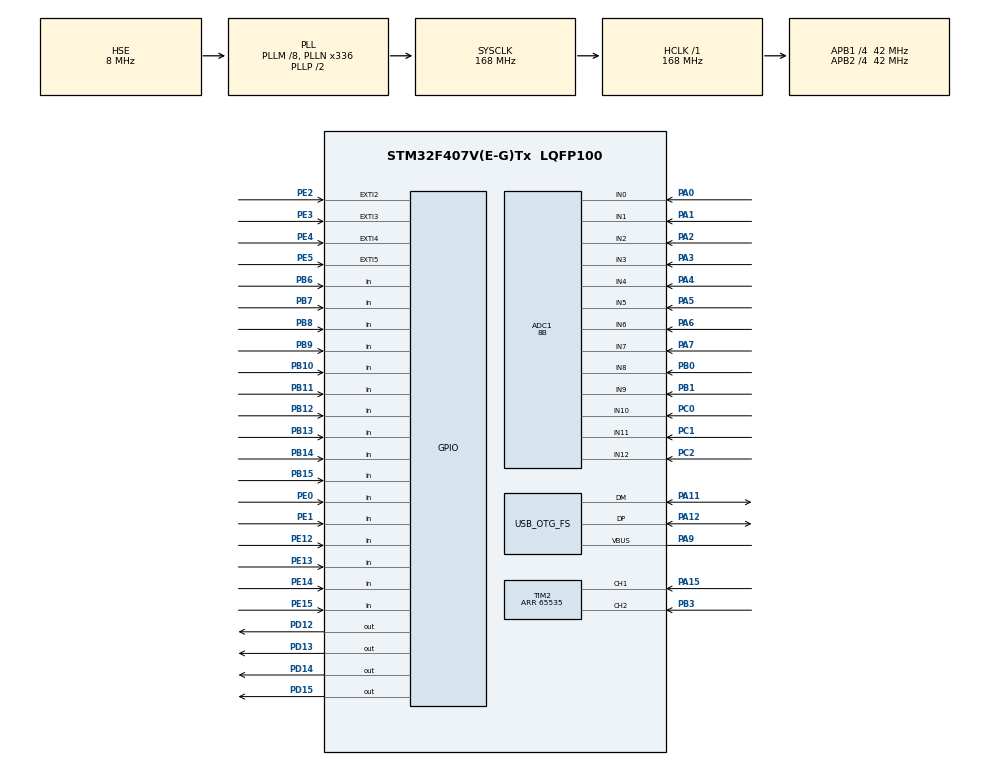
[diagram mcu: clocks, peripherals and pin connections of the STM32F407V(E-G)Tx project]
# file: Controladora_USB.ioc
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ADC1.Channel-0\#ChannelRegularConversion=ADC_CHANNEL_1
ADC1.Channel-1\#ChannelRegularConversion=ADC_CHANNEL_2
ADC1.Channel-10\#ChannelRegularConversion=ADC_CHANNEL_11
ADC1.Channel-11\#ChannelRegularConversion=ADC_CHANNEL_12
ADC1.Channel-12\#ChannelRegularConversion=ADC_CHANNEL_0
ADC1.Channel-2\#ChannelRegularConversion=ADC_CHANNEL_3
ADC1.Channel-3\#ChannelRegularConversion=ADC_CHANNEL_4
ADC1.Channel-4\#ChannelRegularConversion=ADC_CHANNEL_5
ADC1.Channel-5\#ChannelRegularConversion=ADC_CHANNEL_6
ADC1.Channel-6\#ChannelRegularConversion=ADC_CHANNEL_7
ADC1.Channel-7\#ChannelRegularConversion=ADC_CHANNEL_8
ADC1.Channel-8\#ChannelRegularConversion=ADC_CHANNEL_9
ADC1.Channel-9\#ChannelRegularConversion=ADC_CHANNEL_10
ADC1.ClockPrescaler=ADC_CLOCK_SYNC_PCLK_DIV8
ADC1.ContinuousConvMode=ENABLE
ADC1.DMAContinuousRequests=ENABLE
ADC1.NbrOfConversion=13
ADC1.NbrOfConversionFlag=1
ADC1.Rank-0\#ChannelRegularConversion=1
ADC1.Rank-1\#ChannelRegularConversion=2
ADC1.Rank-10\#ChannelRegularConversion=11
ADC1.Rank-11\#ChannelRegularConversion=12
ADC1.Rank-12\#ChannelRegularConversion=13
ADC1.Rank-2\#ChannelRegularConversion=3
ADC1.Rank-3\#ChannelRegularConversion=4
ADC1.Rank-4\#ChannelRegularConversion=5
ADC1.Rank-5\#ChannelRegularConversion=6
ADC1.Rank-6\#ChannelRegularConversion=7
ADC1.Rank-7\#ChannelRegularConversion=8
ADC1.Rank-8\#ChannelRegularConversion=9
ADC1.Rank-9\#ChannelRegularConversion=10
ADC1.Resolution=ADC_RESOLUTION_8B
ADC1.SamplingTime-0\#ChannelRegularConversion=ADC_SAMPLETIME_3CYCLES
ADC1.SamplingTime-1\#ChannelRegularConversion=ADC_SAMPLETIME_3CYCLES
ADC1.SamplingTime-10\#ChannelRegularConversion=ADC_SAMPLETIME_3CYCLES
ADC1.SamplingTime-11\#ChannelRegularConversion=ADC_SAMPLETIME_3CYCLES
ADC1.SamplingTime-12\#ChannelRegularConversion=ADC_SAMPLETIME_3CYCLES
ADC1.SamplingTime-2\#ChannelRegularConversion=ADC_SAMPLETIME_3CYCLES
ADC1.SamplingTime-3\#ChannelRegularConversion=ADC_SAMPLETIME_3CYCLES
ADC1.SamplingTime-4\#ChannelRegularConversion=ADC_SAMPLETIME_3CYCLES
ADC1.SamplingTime-5\#ChannelRegularConversion=ADC_SAMPLETIME_3CYCLES
ADC1.SamplingTime-6\#ChannelRegularConversion=ADC_SAMPLETIME_3CYCLES
ADC1.SamplingTime-7\#ChannelRegularConversion=ADC_SAMPLETIME_3CYCLES
ADC1.SamplingTime-8\#ChannelRegularConversion=ADC_SAMPLETIME_3CYCLES
ADC1.SamplingTime-9\#ChannelRegularConversion=ADC_SAMPLETIME_3CYCLES
ADC1.ScanConvMode=ENABLE
ADC1.master=1
Dma.ADC1.0.Direction=DMA_PERIPH_TO_MEMORY
Dma.ADC1.0.FIFOMode=DMA_FIFOMODE_DISABLE
Dma.ADC1.0.Instance=DMA2_Stream0
Dma.ADC1.0.MemDataAlignment=DMA_MDATAALIGN_BYTE
Dma.ADC1.0.MemInc=DMA_MINC_ENABLE
Dma.ADC1.0.Mode=DMA_CIRCULAR
Dma.ADC1.0.PeriphDataAlignment=DMA_PDATAALIGN_BYTE
Dma.ADC1.0.PeriphInc=DMA_PINC_DISABLE
Dma.ADC1.0.Priority=DMA_PRIORITY_LOW
Dma.Request0=ADC1
Mcu.Family=STM32F4
Mcu.Name=STM32F407V(E-G)Tx
Mcu.Package=LQFP100
NVIC.ADC_IRQn=true\:0\:0\:false\:false\:true\:true\:true\:true
NVIC.DMA2_Stream0_IRQn=true\:0\:0\:false\:false\:true\:false\:true\:true
NVIC.EXTI2_IRQn=true\:0\:0\:false\:false\:true\:true\:true\:true
NVIC.EXTI3_IRQn=true\:0\:0\:false\:false\:true\:true\:true\:true
NVIC.EXTI4_IRQn=true\:0\:0\:false\:false\:true\:true\:true\:true
NVIC.EXTI9_5_IRQn=true\:0\:0\:false\:false\:true\:true\:true\:true
NVIC.OTG_FS_IRQn=true\:0\:0\:false\:false\:true\:true\:true\:true
NVIC.PriorityGroup=NVIC_PRIORITYGROUP_0
NVIC.TIM2_IRQn=true\:0\:0\:false\:false\:true\:true\:true\:true
NVIC.TIM4_IRQn=true\:0\:0\:false\:false\:true\:true\:true\:true
PA0-WKUP.Signal=ADCx_IN0
PA1.Signal=ADCx_IN1
PA11.Mode=Device_Only
PA11.Signal=USB_OTG_FS_DM
PA12.Mode=Device_Only
PA12.Signal=USB_OTG_FS_DP
PA13.Mode=Serial_Wire
PA13.Signal=SYS_JTMS-SWDIO
PA14.Mode=Serial_Wire
PA14.Signal=SYS_JTCK-SWCLK
PA15.Signal=S_TIM2_CH1_ETR
PA2.Signal=ADCx_IN2
PA3.Signal=ADCx_IN3
PA4.Signal=ADCx_IN4
PA5.Signal=ADCx_IN5
PA6.Signal=ADCx_IN6
PA7.Signal=ADCx_IN7
PA9.Mode=Activate_VBUS
PA9.Signal=USB_OTG_FS_VBUS
PB0.Signal=ADCx_IN8
PB1.Signal=ADCx_IN9
PB10.Signal=GPIO_Input
PB11.Signal=GPIO_Input
PB12.Signal=GPIO_Input
PB13.Signal=GPIO_Input
PB14.Signal=GPIO_Input
PB15.Signal=GPIO_Input
PB3.Signal=S_TIM2_CH2
PB6.Signal=GPIO_Input
PB7.Signal=GPIO_Input
PB8.Signal=GPIO_Input
PB9.Signal=GPIO_Input
PC0.Signal=ADCx_IN10
PC1.Signal=ADCx_IN11
PC2.Signal=ADCx_IN12
PD12.Signal=GPIO_Output
PD13.Signal=GPIO_Output
PD14.Signal=GPIO_Output
PD15.Signal=GPIO_Output
PE0.Signal=GPIO_Input
PE1.Signal=GPIO_Input
PE12.Signal=GPIO_Input
PE13.Signal=GPIO_Input
PE14.Signal=GPIO_Input
PE15.Signal=GPIO_Input
PE2.GPIO_ModeDefaultEXTI=GPIO_MODE_IT_RISING
PE2.GPIO_PuPd=GPIO_NOPULL
PE2.Signal=GPXTI2
PE3.Signal=GPXTI3
PE4.Signal=GPXTI4
PE5.Signal=GPXTI5
PH0-OSC_IN.Mode=HSE-External-Oscillator
PH0-OSC_IN.Signal=RCC_OSC_IN
PH1-OSC_OUT.Mode=HSE-External-Oscillator
PH1-OSC_OUT.Signal=RCC_OSC_OUT
ProjectManager.HeapSize=0x2000
ProjectManager.StackSize=0x4000
ProjectManager.TargetToolchain=STM32CubeIDE
RCC.48MHZClocksFreq_Value=48000000
RCC.AHBFreq_Value=168000000
RCC.APB1CLKDivider=RCC_HCLK_DIV4
RCC.APB1Freq_Value=42000000
RCC.APB1TimFreq_Value=84000000
RCC.APB2CLKDivider=RCC_HCLK_DIV4
RCC.APB2Freq_Value=42000000
RCC.APB2TimFreq_Value=84000000
RCC.CortexFreq_Value=168000000
RCC.HCLKFreq_Value=168000000
RCC.HSE_VALUE=8000000
RCC.HSI_VALUE=16000000
RCC.LSE_VALUE=32768
RCC.PLLM=8
RCC.PLLN=336
RCC.PLLQ=7
RCC.SYSCLKFreq_VALUE=168000000
RCC.SYSCLKSource=RCC_SYSCLKSOURCE_PLLCLK
RCC.VCOOutputFreq_Value=336000000
SH.ADCx_IN0.0=ADC1_IN0,IN0
SH.ADCx_IN1.0=ADC1_IN1,IN1
SH.ADCx_IN10.0=ADC1_IN10,IN10
SH.ADCx_IN11.0=ADC1_IN11,IN11
SH.ADCx_IN12.0=ADC1_IN12,IN12
SH.ADCx_IN2.0=ADC1_IN2,IN2
SH.ADCx_IN3.0=ADC1_IN3,IN3
SH.ADCx_IN4.0=ADC1_IN4,IN4
SH.ADCx_IN5.0=ADC1_IN5,IN5
SH.ADCx_IN6.0=ADC1_IN6,IN6
SH.ADCx_IN7.0=ADC1_IN7,IN7
SH.ADCx_IN8.0=ADC1_IN8,IN8
SH.ADCx_IN9.0=ADC1_IN9,IN9
SH.S_TIM2_CH1_ETR.0=TIM2_CH1,Encoder_Interface
SH.S_TIM2_CH2.0=TIM2_CH2,Encoder_Interface
TIM2.EncoderMode=TIM_ENCODERMODE_TI12
TIM2.IC1Polarity=TIM_ICPOLARITY_FALLING
TIM2.IC2Polarity=TIM_ICPOLARITY_FALLING
TIM2.Period=65535
TIM4.Channel-Output\ Compare1\ No\ Output=TIM_CHANNEL_1
TIM4.Period=15599
USB_DEVICE.CLASS_NAME_FS=CDC
USB_DEVICE.VirtualMode-CDC_FS=Cdc
USB_DEVICE.VirtualModeFS=Cdc_FS
USB_OTG_FS.VirtualMode=Device_Only
VP_TIM4_VS_no_output1.Mode=Output Compare1 No Output
VP_USB_DEVICE_VS_USB_DEVICE_CDC_FS.Mode=CDC_FS
board=STM32F407G-DISC1

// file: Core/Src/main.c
/* USER CODE BEGIN Header */
/**
  ******************************************************************************
  * @file           : main.c
  * @brief          : Main program body
  ******************************************************************************
  * @attention
  *
  * Copyright (c) 2022 STMicroelectronics.
  * All rights reserved.
  *
  * This software is licensed under terms that can be found in the LICENSE file
  * in the root directory of this software component.
  * If no LICENSE file comes with this software, it is provided AS-IS.
  *
  ******************************************************************************
  */
/* USER CODE END Header */
#include "main.h"
#include "usb_device.h"

/* USER CODE BEGIN PD */

#define READY			0
#define BUSY			1

#define wait_bouncing	800

#define DEBOUNCING_TIME		100

#define SW1_PORT	GPIOE
#define SW1_PIN		GPIO_PIN_0

#define SW2_PORT	GPIOE
#define SW2_PIN		GPIO_PIN_1

#define SW3_PORT	GPIOE
#define SW3_PIN		GPIO_PIN_2

#define SW4_PORT	GPIOE
#define SW4_PIN		GPIO_PIN_3

#define SW5_PORT	GPIOE
#define SW5_PIN		GPIO_PIN_4

#define SW6_PORT	GPIOE
#define SW6_PIN		GPIO_PIN_5

#define SW7_PORT	GPIOB
#define SW7_PIN		GPIO_PIN_6

#define SW8_PORT	GPIOB
#define SW8_PIN		GPIO_PIN_7

#define SW9_PORT	GPIOB
#define SW9_PIN		GPIO_PIN_8

#define SW10_PORT	GPIOB
#define SW10_PIN	GPIO_PIN_9

#define SW11_PORT	GPIOB
#define SW11_PIN	GPIO_PIN_10

#define SW12_PORT	GPIOB
#define SW12_PIN	GPIO_PIN_11

#define SW13_PORT	GPIOB
#define SW13_PIN	GPIO_PIN_12

#define SW14_PORT	GPIOB
#define SW14_PIN	GPIO_PIN_13

#define SW15_PORT	GPIOB
#define SW15_PIN	GPIO_PIN_14

#define SW16_PORT	GPIOB
#define SW16_PIN	GPIO_PIN_15

#define SW17_PORT	GPIOE
#define SW17_PIN	GPIO_PIN_12

#define SW18_PORT	GPIOE
#define SW18_PIN	GPIO_PIN_13

#define SW19_PORT	GPIOE
#define SW19_PIN	GPIO_PIN_14

#define SW20_PORT	GPIOE
#define SW20_PIN	GPIO_PIN_15
#define SW_BOUNCING_TX_USB 5000

/* USER CODE END PD */

 ADC_HandleTypeDef hadc1;
DMA_HandleTypeDef hdma_adc1;

TIM_HandleTypeDef htim2;
TIM_HandleTypeDef htim4;

/* USER CODE BEGIN PV */

uint32_t led_counter;

uint8_t   	ADC_buffer[13];
uint32_t 	ADC_counter;
uint8_t 	MIDI_pot1[3] = {0xB0,01,00};
uint16_t	pot1;
uint8_t 	MIDI_pot2[3] = {0xB0,02,00};
uint16_t	pot2;
uint8_t 	MIDI_pot3[3] = {0xB0,03,00};
uint16_t	pot3;
uint8_t 	MIDI_pot4[3] = {0xB0,04,00};
uint16_t	pot4;
uint8_t 	MIDI_pot5[3] = {0xB0,05,00};
uint16_t	pot5;
uint8_t 	MIDI_pot6[3] = {0xB0,06,00};
uint16_t	pot6;
uint8_t 	MIDI_pot7[3] = {0xB0,07,00};
uint16_t	pot7;
uint8_t 	MIDI_pot8[3] = {0xB0,10,00};
uint16_t	pot8;
uint8_t 	MIDI_pot9[3] = {0xB0,11,00};
uint16_t	pot9;
uint8_t 	MIDI_pot10[3] = {0xB0,12,00};
uint16_t	pot10;
uint8_t 	MIDI_pot11[3] = {0xB0,13,00};
uint16_t	pot11;
uint8_t 	MIDI_pot12[3] = {0xB0,14,00};
uint16_t	pot12;
uint8_t 	MIDI_pot13[3] = {0xB0,15,00};
uint16_t	pot13;

uint32_t	counter_encoder = 0;
uint32_t	tim2_count = 0;
uint32_t	direc;
uint32_t	encoder_bouncing;
int			data_encoder;
uint32_t	tx_encoder;

uint8_t		MIDI_scroll[3] = {0XB0, 0X1A, 0X7F};

uint8_t		MIDI_sw1[3] = {0x90, 0x34, 0x47};
uint32_t	counter_sw1;

uint8_t		MIDI_sw2[3] = {0x90, 0x35, 0x47};
uint32_t	counter_sw2;

uint8_t		MIDI_sw3[3] = {0x90, 0x36, 0x47};
uint32_t	counter_sw3;

uint8_t		MIDI_sw4[3] = {0x90, 0x37, 0x47};
uint32_t	counter_sw4;

uint8_t		MIDI_sw5[3] = {0x90, 0x38, 0x47};
uint32_t	counter_sw5;

uint8_t		MIDI_sw6[3] = {0x90, 0x39, 0x47};
uint32_t	counter_sw6;

uint8_t		MIDI_sw7[3] = {0x90, 0x40, 0x47};
uint32_t	counter_sw7;

uint8_t		MIDI_sw8[3] = {0x90, 0x41, 0x47};
uint32_t	counter_sw8;

uint8_t		MIDI_sw9[3] = {0x90, 0x42, 0x47};
uint32_t	counter_sw9;

uint8_t		MIDI_sw10[3] = {0x90, 0x43, 0x47};
uint32_t	counter_sw10;

uint8_t		MIDI_sw11[3] = {0x90, 0x44, 0x47};
uint32_t	counter_sw11;

uint8_t		MIDI_sw12[3] = {0x90, 0x45, 0x47};
uint32_t	counter_sw12;

uint8_t		MIDI_sw13[3] = {0x90, 0x46, 0x47};
uint32_t	counter_sw13;

uint8_t		MIDI_sw14[3] = {0x90, 0x47, 0x47};
uint32_t	counter_sw14;

uint8_t		MIDI_sw15[3] = {0x90, 0x48, 0x47};
uint32_t	counter_sw15;

uint8_t		MIDI_sw16[3] = {0x90, 0x49, 0x47};
uint32_t	counter_sw16;

uint8_t		MIDI_sw17[3] = {0x90, 0x50, 0x47};
uint32_t	counter_sw17;

uint8_t		MIDI_sw18[3] = {0x90, 0x51, 0x47};
uint32_t	counter_sw18;

uint8_t		MIDI_sw19[3] = {0x90, 0x52, 0x47};
uint32_t	counter_sw19;

uint8_t		MIDI_sw20[3] = {0x90, 0x53, 0x47};
uint32_t	counter_sw20;

/* USER CODE END PV */

void SystemClock_Config(void);
static void MX_GPIO_Init(void);
static void MX_DMA_Init(void);
static void MX_TIM4_Init(void);
static void MX_ADC1_Init(void);
static void MX_TIM2_Init(void);

/* USER CODE BEGIN 0 */

void HAL_TIM_PeriodElapsedCallback (TIM_HandleTypeDef *htim){
	ADC_counter++;

	led_counter++;

	tx_encoder++;
	encoder_bouncing++;

	counter_sw1++;
	counter_sw2++;
	counter_sw3++;
	counter_sw4++;
	counter_sw5++;
	counter_sw6++;
	counter_sw7++;
	counter_sw8++;
	counter_sw9++;
	counter_sw10++;
	counter_sw11++;
	counter_sw12++;
	counter_sw13++;
	counter_sw14++;
	counter_sw15++;
	counter_sw16++;
	counter_sw17++;
	counter_sw18++;
	counter_sw19++;
	counter_sw20++;
}

void led_task(void){
	if(led_counter > 1000){
		led_counter = 0;
	}
}

void HAL_TIM_IC_CaptureCallback(TIM_HandleTypeDef *htim)
{
	tim2_count = __HAL_TIM_GET_COUNTER(htim);
	direc = !(__HAL_TIM_IS_TIM_COUNTING_DOWN(&htim2));

	if( (tim2_count != counter_encoder) && (direc == 1) ){
		MIDI_scroll[1] = 0X1A;
		MIDI_scroll[2] = 127;
		data_encoder = 1;
		encoder_bouncing = 0;
		counter_encoder = tim2_count;
	}

	if( (tim2_count != counter_encoder) && (direc == 0) ){
		MIDI_scroll[1] = 0X1B;
		MIDI_scroll[2] = 1;
		data_encoder = 1;
		encoder_bouncing = 0;
		counter_encoder = tim2_count;
	}
}

void encoder_task(void){
	if( (encoder_bouncing == wait_bouncing) & (tx_encoder > 2000) ){
			data_encoder = 0;
			VCP_Transmit(MIDI_scroll,3);
			tx_encoder = 0;
	}
}

void ADC_task(void){

	if(ADC_counter > 500){

			ADC_counter = 0;

			if( ( (ADC_buffer[0]) < (pot1-5) ) || ( (ADC_buffer[0]) > (pot1+5) ) ){
				pot1 = ADC_buffer[0];
				MIDI_pot1[2] = ADC_buffer[0] * 127 / 256;
				VCP_Transmit(MIDI_pot1,3);
			}

			if( ( (ADC_buffer[1]) < (pot2-5) ) || ( (ADC_buffer[1]) > (pot2+5) ) ){
				pot2 = ADC_buffer[1];
				MIDI_pot2[2] = ADC_buffer[1] * 127 / 256;
				VCP_Transmit(MIDI_pot2,3);
			}

			if( ( (ADC_buffer[2]) < (pot3-5) ) || ( (ADC_buffer[2]) > (pot3+5) ) ){
				pot3 = ADC_buffer[2];
				MIDI_pot3[2] = ADC_buffer[2] * 127 / 256;
				VCP_Transmit(MIDI_pot3,3);
			}

			if( ( (ADC_buffer[3]) < (pot4-5) ) || ( (ADC_buffer[3]) > (pot4+5) ) ){
				pot4 = ADC_buffer[3];
				MIDI_pot4[2] = ADC_buffer[3] * 127 / 256;
				VCP_Transmit(MIDI_pot4,3);
			}
			if( ( (ADC_buffer[4]) < (pot5-5) ) || ( (ADC_buffer[4]) > (pot5+5) ) ){
				pot5 = ADC_buffer[4];
				MIDI_pot5[2] = ADC_buffer[4] * 127 / 256;
				VCP_Transmit(MIDI_pot5,3);
			}

			if( ( (ADC_buffer[5]) < (pot6-5) ) || ( (ADC_buffer[5]) > (pot6+5) ) ){
				pot6 = ADC_buffer[5];
				MIDI_pot6[2] = ADC_buffer[5] * 127 / 256;
				VCP_Transmit(MIDI_pot6,3);
			}

			if( ( (ADC_buffer[6]) < (pot7-5) ) || ( (ADC_buffer[6]) > (pot7+5) ) ){
				pot7 = ADC_buffer[6];
				MIDI_pot7[2] = ADC_buffer[6] * 127 / 256;
				VCP_Transmit(MIDI_pot7,3);
			}

			if( ( (ADC_buffer[7]) < (pot8-5) ) || ( (ADC_buffer[7]) > (pot8+5) ) ){
				pot8 = ADC_buffer[7];
				MIDI_pot8[2] = ADC_buffer[7] * 127 / 256;
				VCP_Transmit(MIDI_pot8,3);
			}

			if( ( (ADC_buffer[8]) < (pot9-5) ) || ( (ADC_buffer[8]) > (pot9+5) ) ){
				pot9 = ADC_buffer[8];
				MIDI_pot9[2] = ADC_buffer[8] * 127 / 256;
				VCP_Transmit(MIDI_pot9,3);
			}

			if( ( (ADC_buffer[9]) < (pot10-5) ) || ( (ADC_buffer[9]) > (pot10+5) ) ){
				pot10 = ADC_buffer[9];
				MIDI_pot10[2] = ADC_buffer[9] * 127 / 256;
				VCP_Transmit(MIDI_pot10,3);
			}

			if( ( (ADC_buffer[10]) < (pot11-5) ) || ( (ADC_buffer[10]) > (pot11+5) ) ){
				pot11 = ADC_buffer[10];
				MIDI_pot11[2] = ADC_buffer[10] * 127 / 256;
				VCP_Transmit(MIDI_pot11,3);
			}

			if( ( (ADC_buffer[11]) < (pot12-5) ) || ( (ADC_buffer[11]) > (pot12+5) ) ){
				pot12 = ADC_buffer[11];
				MIDI_pot12[2] = ADC_buffer[11] * 127 / 256;
				VCP_Transmit(MIDI_pot12,3);
			}

			if( ( (ADC_buffer[12]) < (pot13-5) ) || ( (ADC_buffer[12]) > (pot13+5) ) ){
				pot13 = ADC_buffer[12];
				MIDI_pot13[2] = ADC_buffer[12] * 127 / 256;
				VCP_Transmit(MIDI_pot13,3);
			}
		}
}

void sw1_task(void){
	static uint8_t state1 = 1;

	switch(state1)
	{
		case 1:
			if((HAL_GPIO_ReadPin(SW1_PORT, SW1_PIN) == 0))
			{
				state1 = 2;
				counter_sw1= 0;
			}
		break;
		case 2:
			if(counter_sw1 >= DEBOUNCING_TIME)
			{
				if(HAL_GPIO_ReadPin(SW1_PORT, SW1_PIN) == 0)
				{
					state1 = 3;
				}
				else
					state1 = 1;
			}
		break;
		case 3:
			if(HAL_GPIO_ReadPin(SW1_PORT, SW1_PIN) == 1)
			{
				VCP_Transmit(MIDI_sw1,3);
				state1 = 1;
			}
		break;
	}
}

void sw2_task(void){
	static uint8_t state2 = 1;

	switch(state2)
	{
		case 1:
			if((HAL_GPIO_ReadPin(SW2_PORT, SW2_PIN) == 0))
			{
				state2 = 2;
				counter_sw2= 0;
			}
		break;
		case 2:
			if(counter_sw2 >= DEBOUNCING_TIME)
			{
				if(HAL_GPIO_ReadPin(SW2_PORT, SW2_PIN) == 0)
				{
					state2 = 3;
				}
				else
					state2 = 1;
			}
		break;
		case 3:
			if(HAL_GPIO_ReadPin(SW2_PORT, SW2_PIN) == 1)
			{
				VCP_Transmit(MIDI_sw2,3);
				state2 = 1;
			}
		break;
	}
}

void sw3_task(void){
	static uint8_t state3 = 1;

	switch(state3)
	{
		case 1:
			if((HAL_GPIO_ReadPin(SW3_PORT, SW3_PIN) == 0))
			{
				state3 = 2;
				counter_sw3= 0;
			}
		break;
		case 2:
			if(counter_sw3 >= DEBOUNCING_TIME)
			{
				if(HAL_GPIO_ReadPin(SW3_PORT, SW3_PIN) == 0)
				{
					state3 = 3;
				}
				else
					state3 = 1;
			}
		break;
		case 3:
			if(HAL_GPIO_ReadPin(SW3_PORT, SW3_PIN) == 1)
			{
				VCP_Transmit(MIDI_sw3,3);
				state3 = 1;
			}
		break;
	}
}

void sw4_task(void){
	static uint8_t state4 = 1;

	switch(state4)
	{
		case 1:
			if((HAL_GPIO_ReadPin(SW4_PORT, SW4_PIN) == 0))
			{
				state4 = 2;
				counter_sw4= 0;
			}
		break;
		case 2:
			if(counter_sw4 >= DEBOUNCING_TIME)
			{
				if(HAL_GPIO_ReadPin(SW4_PORT, SW4_PIN) == 0)
				{
					state4 = 3;
				}
				else
					state4 = 1;
			}
		break;
		case 3:
			if(HAL_GPIO_ReadPin(SW4_PORT, SW4_PIN) == 1)
			{
				VCP_Transmit(MIDI_sw4,3);
				state4 = 1;
			}
		break;
	}
}

void sw5_task(void){
	static uint8_t state5 = 1;

	switch(state5)
	{
		case 1:
			if((HAL_GPIO_ReadPin(SW5_PORT, SW5_PIN) == 0))
			{
				state5 = 2;
				counter_sw5= 0;
			}
		break;
		case 2:
			if(counter_sw5 >= DEBOUNCING_TIME)
			{
				if(HAL_GPIO_ReadPin(SW5_PORT, SW5_PIN) == 0)
				{
					state5 = 3;
				}
				else
					state5 = 1;
			}
		break;
		case 3:
			if(HAL_GPIO_ReadPin(SW5_PORT, SW5_PIN) == 1)
			{
				VCP_Transmit(MIDI_sw5,3);
				state5 = 1;
			}
		break;
	}
}

void sw6_task(void){
	static uint8_t state6 = 1;

	switch(state6)
	{
		case 1:
			if((HAL_GPIO_ReadPin(SW6_PORT, SW6_PIN) == 0))
			{
				state6 = 2;
				counter_sw6= 0;
			}
		break;
		case 2:
			if(counter_sw6 >= DEBOUNCING_TIME)
			{
				if(HAL_GPIO_ReadPin(SW6_PORT, SW6_PIN) == 0)
				{
					state6 = 3;
				}
				else
					state6 = 1;
			}
		break;
		case 3:
			if(HAL_GPIO_ReadPin(SW6_PORT, SW6_PIN) == 1)
			{
				VCP_Transmit(MIDI_sw6,3);
				state6 = 1;
			}
		break;
	}
}

void sw7_task(void){
	static uint8_t state7 = 1;

	switch(state7)
	{
		case 1:
			if((HAL_GPIO_ReadPin(SW7_PORT, SW7_PIN) == 0))
			{
				state7 = 2;
				counter_sw7= 0;
			}
		break;
		case 2:
			if(counter_sw7 >= DEBOUNCING_TIME)
			{
				if(HAL_GPIO_ReadPin(SW7_PORT, SW7_PIN) == 0)
				{
					state7 = 3;
				}
				else
					state7 = 1;
			}
		break;
		case 3:
			if(HAL_GPIO_ReadPin(SW7_PORT, SW7_PIN) == 1)
			{
				VCP_Transmit(MIDI_sw7,3);
				state7 = 1;
			}
		break;
	}
}

void sw8_task(void){
	static uint8_t state8 = 1;

	switch(state8)
	{
		case 1:
			if((HAL_GPIO_ReadPin(SW8_PORT, SW8_PIN) == 0))
			{
				state8 = 2;
				counter_sw8= 0;
			}
		break;
		case 2:
			if(counter_sw8 >= DEBOUNCING_TIME)
			{
				if(HAL_GPIO_ReadPin(SW8_PORT, SW8_PIN) == 0)
				{
					state8 = 3;
				}
				else
					state8 = 1;
			}
		break;
		case 3:
			if(HAL_GPIO_ReadPin(SW8_PORT, SW8_PIN) == 1)
			{
				VCP_Transmit(MIDI_sw8,3);
				state8 = 1;
			}
		break;
	}
}

void sw9_task(void){
	static uint8_t state9 = 1;

	switch(state9)
	{
		case 1:
			if((HAL_GPIO_ReadPin(SW9_PORT, SW9_PIN) == 0))
			{
				state9 = 2;
				counter_sw9= 0;
			}
		break;
		case 2:
			if(counter_sw9 >= DEBOUNCING_TIME)
			{
				if(HAL_GPIO_ReadPin(SW9_PORT, SW9_PIN) == 0)
				{
					state9 = 3;
				}
				else
					state9 = 1;
			}
		break;
		case 3:
			if(HAL_GPIO_ReadPin(SW9_PORT, SW9_PIN) == 1)
			{
				VCP_Transmit(MIDI_sw9,3);
				state9 = 1;
			}
		break;
	}
}

void sw10_task(void){
	static uint8_t state10 = 1;

	switch(state10)
	{
		case 1:
			if((HAL_GPIO_ReadPin(SW10_PORT, SW10_PIN) == 0))
			{
				state10 = 2;
				counter_sw10= 0;
			}
		break;
		case 2:
			if(counter_sw10 >= DEBOUNCING_TIME)
			{
				if(HAL_GPIO_ReadPin(SW10_PORT, SW10_PIN) == 0)
				{
					state10 = 3;
				}
				else
					state10 = 1;
			}
		break;
		case 3:
			if(HAL_GPIO_ReadPin(SW10_PORT, SW10_PIN) == 1)
			{
				VCP_Transmit(MIDI_sw10,3);
				state10 = 1;
			}
		break;
	}
}

void sw11_task(void){
	static uint8_t state11 = 1;

	switch(state11)
	{
		case 1:
			if((HAL_GPIO_ReadPin(SW11_PORT, SW11_PIN) == 0))
			{
				state11 = 2;
				counter_sw11= 0;
			}
		break;
		case 2:
			if(counter_sw11 >= DEBOUNCING_TIME)
			{
				if(HAL_GPIO_ReadPin(SW11_PORT, SW11_PIN) == 0)
				{
					state11 = 3;
				}
				else
					state11 = 1;
			}
		break;
		case 3:
			if(HAL_GPIO_ReadPin(SW11_PORT, SW11_PIN) == 1)
			{
				VCP_Transmit(MIDI_sw11,3);
				state11 = 1;
			}
		break;
	}
}

void sw12_task(void){
	static uint8_t state12 = 1;

	switch(state12)
	{
		case 1:
			if((HAL_GPIO_ReadPin(SW12_PORT, SW12_PIN) == 0))
			{
				state12 = 2;
				counter_sw12= 0;
			}
		break;
		case 2:
			if(counter_sw12 >= DEBOUNCING_TIME)
			{
				if(HAL_GPIO_ReadPin(SW12_PORT, SW12_PIN) == 0)
				{
					state12 = 3;
				}
				else
					state12 = 1;
			}
		break;
		case 3:
			if(HAL_GPIO_ReadPin(SW12_PORT, SW12_PIN) == 1)
			{
				VCP_Transmit(MIDI_sw12,3);
				state12 = 1;
			}
		break;
	}
}

void sw13_task(void){
	static uint8_t state13 = 1;

	switch(state13)
	{
		case 1:
			if((HAL_GPIO_ReadPin(SW13_PORT, SW13_PIN) == 0))
			{
				state13 = 2;
				counter_sw13= 0;
			}
		break;
		case 2:
			if(counter_sw13 >= DEBOUNCING_TIME)
			{
				if(HAL_GPIO_ReadPin(SW13_PORT, SW13_PIN) == 0)
				{
					state13 = 3;
				}
				else
					state13 = 1;
			}
		break;
		case 3:
			if(HAL_GPIO_ReadPin(SW13_PORT, SW13_PIN) == 1)
			{
				VCP_Transmit(MIDI_sw13,3);
				state13 = 1;
			}
		break;
	}
}

void sw14_task(void){
	static uint8_t state14 = 1;

	switch(state14)
	{
		case 1:
			if((HAL_GPIO_ReadPin(SW14_PORT, SW14_PIN) == 0))
			{
				state14 = 2;
				counter_sw14= 0;
			}
		break;
		case 2:
			if(counter_sw14 >= DEBOUNCING_TIME)
			{
				if(HAL_GPIO_ReadPin(SW14_PORT, SW14_PIN) == 0)
				{
					state14 = 3;
				}
				else
					state14 = 1;
			}
		break;
		case 3:
			if(HAL_GPIO_ReadPin(SW14_PORT, SW14_PIN) == 1)
			{
				VCP_Transmit(MIDI_sw14,3);
				state14 = 1;
			}
		break;
	}
}

void sw15_task(void){
	static uint8_t state15 = 1;

	switch(state15)
	{
		case 1:
			if((HAL_GPIO_ReadPin(SW15_PORT, SW15_PIN) == 0))
			{
				state15 = 2;
				counter_sw15= 0;
			}
		break;
		case 2:
			if(counter_sw15 >= DEBOUNCING_TIME)
			{
				if(HAL_GPIO_ReadPin(SW15_PORT, SW15_PIN) == 0)
				{
					state15 = 3;
				}
				else
					state15 = 1;
			}
		break;
		case 3:
			if(HAL_GPIO_ReadPin(SW15_PORT, SW15_PIN) == 1)
			{
				VCP_Transmit(MIDI_sw15,3);
				state15 = 1;
			}
		break;
	}
}

void sw16_task(void){
	static uint8_t state16 = 1;

	switch(state16)
	{
		case 1:
			if((HAL_GPIO_ReadPin(SW16_PORT, SW16_PIN) == 0))
			{
				state16 = 2;
				counter_sw16= 0;
			}
		break;
		case 2:
			if(counter_sw16 >= DEBOUNCING_TIME)
			{
				if(HAL_GPIO_ReadPin(SW16_PORT, SW16_PIN) == 0)
				{
					state16 = 3;
				}
				else
					state16 = 1;
			}
		break;
		case 3:
			if(HAL_GPIO_ReadPin(SW16_PORT, SW16_PIN) == 1)
			{
				VCP_Transmit(MIDI_sw16,3);
				state16 = 1;
			}
		break;
	}
}

void sw17_task(void){
	static uint8_t state17 = 1;

	switch(state17)
	{
		case 1:
			if((HAL_GPIO_ReadPin(SW17_PORT, SW17_PIN) == 0))
			{
				state17 = 2;
				counter_sw17= 0;
			}
		break;
		case 2:
			if(counter_sw17 >= DEBOUNCING_TIME)
			{
				if(HAL_GPIO_ReadPin(SW17_PORT, SW17_PIN) == 0)
				{
					state17 = 3;
				}
				else
					state17 = 1;
			}
		break;
		case 3:
			if(HAL_GPIO_ReadPin(SW17_PORT, SW17_PIN) == 1)
			{
				VCP_Transmit(MIDI_sw17,3);
				state17 = 1;
			}
		break;
	}
}

void sw18_task(void){
	static uint8_t state18 = 1;

	switch(state18)
	{
		case 1:
			if((HAL_GPIO_ReadPin(SW18_PORT, SW18_PIN) == 0))
			{
				state18 = 2;
				counter_sw18= 0;
			}
		break;
		case 2:
			if(counter_sw18 >= DEBOUNCING_TIME)
			{
				if(HAL_GPIO_ReadPin(SW18_PORT, SW18_PIN) == 0)
				{
					state18 = 3;
				}
				else
					state18 = 1;
			}
		break;
		case 3:
			if(HAL_GPIO_ReadPin(SW18_PORT, SW18_PIN) == 1)
			{
				VCP_Transmit(MIDI_sw18,3);
				state18 = 1;
			}
		break;
	}
}

void sw19_task(void){
	static uint8_t state19 = 1;

	switch(state19)
	{
		case 1:
			if((HAL_GPIO_ReadPin(SW19_PORT, SW19_PIN) == 0))
			{
				state19 = 2;
				counter_sw19= 0;
			}
		break;
		case 2:
			if(counter_sw19 >= DEBOUNCING_TIME)
			{
				if(HAL_GPIO_ReadPin(SW19_PORT, SW19_PIN) == 0)
				{
					state19 = 3;
				}
				else
					state19 = 1;
			}
		break;
		case 3:
			if(HAL_GPIO_ReadPin(SW19_PORT, SW19_PIN) == 1)
			{
				VCP_Transmit(MIDI_sw19,3);
				state19 = 1;
			}
		break;
	}
}

void sw20_task(void){
	static uint8_t state20 = 1;

	switch(state20)
	{
		case 1:
			if((HAL_GPIO_ReadPin(SW20_PORT, SW20_PIN) == 0))
			{
				state20 = 2;
				counter_sw20= 0;
			}
		break;
		case 2:
			if(counter_sw20 >= DEBOUNCING_TIME)
			{
				if(HAL_GPIO_ReadPin(SW20_PORT, SW20_PIN) == 0)
				{
					state20 = 3;
				}
				else
					state20 = 1;
			}
		break;
		case 3:
			if(HAL_GPIO_ReadPin(SW20_PORT, SW20_PIN) == 1)
			{
				VCP_Transmit(MIDI_sw20,3);
				state20 = 1;
			}
		break;
	}
}

//	Funciones Transmit- Reception USB

void VCP_TransmitCpltCallback(void){
	HAL_GPIO_TogglePin(GPIOD, GPIO_PIN_12);
}

void VCP_ReceiveCpltCallback(uint8_t *buffer, uint32_t size){

}

/* USER CODE END 0 */

int main(void)
{

  /* MCU Configuration--------------------------------------------------------*/

  /* Reset of all peripherals, Initializes the Flash interface and the Systick. */
  HAL_Init();

  /* Configure the system clock */
  SystemClock_Config();

  /* Initialize all configured peripherals */
  MX_GPIO_Init();
  MX_USB_DEVICE_Init();
  MX_DMA_Init();
  MX_TIM4_Init();
  MX_ADC1_Init();
  MX_TIM2_Init();
  /* USER CODE BEGIN 2 */

  HAL_TIM_Encoder_Start_IT(&htim2, TIM_CHANNEL_ALL);
  HAL_TIM_Base_Start_IT(&htim4);
  HAL_ADC_Start_DMA(&hadc1, (uint32_t *) &ADC_buffer, 13);

  /* USER CODE END 2 */

  /* Infinite loop */
  while (1)
  {

    /* USER CODE BEGIN 3 */

	  led_task();

	  encoder_task();

	  ADC_task();

	  sw1_task();
	  sw2_task();
	  sw3_task();
	  sw4_task();
	  sw5_task();
	  sw6_task();
	  sw7_task();
	  sw8_task();
	  sw9_task();
	  sw10_task();
	  sw11_task();
	  sw12_task();
	  sw13_task();
	  sw14_task();
	  sw15_task();
	  sw16_task();
	  sw17_task();
	  sw18_task();
	  sw19_task();
	  sw20_task();
  }
  /* USER CODE END 3 */
}

void SystemClock_Config(void)
{
  RCC_OscInitTypeDef RCC_OscInitStruct = {0};
  RCC_ClkInitTypeDef RCC_ClkInitStruct = {0};

  /** Configure the main internal regulator output voltage
  */
  __HAL_RCC_PWR_CLK_ENABLE();
  __HAL_PWR_VOLTAGESCALING_CONFIG(PWR_REGULATOR_VOLTAGE_SCALE1);

  /** Initializes the RCC Oscillators according to the specified parameters
  * in the RCC_OscInitTypeDef structure.
  */
  RCC_OscInitStruct.OscillatorType = RCC_OSCILLATORTYPE_HSE;
  RCC_OscInitStruct.HSEState = RCC_HSE_ON;
  RCC_OscInitStruct.PLL.PLLState = RCC_PLL_ON;
  RCC_OscInitStruct.PLL.PLLSource = RCC_PLLSOURCE_HSE;
  RCC_OscInitStruct.PLL.PLLM = 8;
  RCC_OscInitStruct.PLL.PLLN = 336;
  RCC_OscInitStruct.PLL.PLLP = RCC_PLLP_DIV2;
  RCC_OscInitStruct.PLL.PLLQ = 7;
  if (HAL_RCC_OscConfig(&RCC_OscInitStruct) != HAL_OK)
  {
    Error_Handler();
  }

  /** Initializes the CPU, AHB and APB buses clocks
  */
  RCC_ClkInitStruct.ClockType = RCC_CLOCKTYPE_HCLK|RCC_CLOCKTYPE_SYSCLK
                              |RCC_CLOCKTYPE_PCLK1|RCC_CLOCKTYPE_PCLK2;
  RCC_ClkInitStruct.SYSCLKSource = RCC_SYSCLKSOURCE_PLLCLK;
  RCC_ClkInitStruct.AHBCLKDivider = RCC_SYSCLK_DIV1;
  RCC_ClkInitStruct.APB1CLKDivider = RCC_HCLK_DIV4;
  RCC_ClkInitStruct.APB2CLKDivider = RCC_HCLK_DIV4;

  if (HAL_RCC_ClockConfig(&RCC_ClkInitStruct, FLASH_LATENCY_5) != HAL_OK)
  {
    Error_Handler();
  }
}

static void MX_ADC1_Init(void)
{

  ADC_ChannelConfTypeDef sConfig = {0};

  /** Configure the global features of the ADC (Clock, Resolution, Data Alignment and number of conversion)
  */
  hadc1.Instance = ADC1;
  hadc1.Init.ClockPrescaler = ADC_CLOCK_SYNC_PCLK_DIV8;
  hadc1.Init.Resolution = ADC_RESOLUTION_8B;
  hadc1.Init.ScanConvMode = ENABLE;
  hadc1.Init.ContinuousConvMode = ENABLE;
  hadc1.Init.DiscontinuousConvMode = DISABLE;
  hadc1.Init.ExternalTrigConvEdge = ADC_EXTERNALTRIGCONVEDGE_NONE;
  hadc1.Init.ExternalTrigConv = ADC_SOFTWARE_START;
  hadc1.Init.DataAlign = ADC_DATAALIGN_RIGHT;
  hadc1.Init.NbrOfConversion = 13;
  hadc1.Init.DMAContinuousRequests = ENABLE;
  hadc1.Init.EOCSelection = ADC_EOC_SINGLE_CONV;
  if (HAL_ADC_Init(&hadc1) != HAL_OK)
  {
    Error_Handler();
  }

  /** Configure for the selected ADC regular channel its corresponding rank in the sequencer and its sample time.
  */
  sConfig.Channel = ADC_CHANNEL_1;
  sConfig.Rank = 1;
  sConfig.SamplingTime = ADC_SAMPLETIME_3CYCLES;
  if (HAL_ADC_ConfigChannel(&hadc1, &sConfig) != HAL_OK)
  {
    Error_Handler();
  }

  /** Configure for the selected ADC regular channel its corresponding rank in the sequencer and its sample time.
  */
  sConfig.Channel = ADC_CHANNEL_2;
  sConfig.Rank = 2;
  if (HAL_ADC_ConfigChannel(&hadc1, &sConfig) != HAL_OK)
  {
    Error_Handler();
  }

  /** Configure for the selected ADC regular channel its corresponding rank in the sequencer and its sample time.
  */
  sConfig.Channel = ADC_CHANNEL_3;
  sConfig.Rank = 3;
  if (HAL_ADC_ConfigChannel(&hadc1, &sConfig) != HAL_OK)
  {
    Error_Handler();
  }

  /** Configure for the selected ADC regular channel its corresponding rank in the sequencer and its sample time.
  */
  sConfig.Channel = ADC_CHANNEL_4;
  sConfig.Rank = 4;
  if (HAL_ADC_ConfigChannel(&hadc1, &sConfig) != HAL_OK)
  {
    Error_Handler();
  }

  /** Configure for the selected ADC regular channel its corresponding rank in the sequencer and its sample time.
  */
  sConfig.Channel = ADC_CHANNEL_5;
  sConfig.Rank = 5;
  if (HAL_ADC_ConfigChannel(&hadc1, &sConfig) != HAL_OK)
  {
    Error_Handler();
  }

  /** Configure for the selected ADC regular channel its corresponding rank in the sequencer and its sample time.
  */
  sConfig.Channel = ADC_CHANNEL_6;
  sConfig.Rank = 6;
  if (HAL_ADC_ConfigChannel(&hadc1, &sConfig) != HAL_OK)
  {
    Error_Handler();
  }

  /** Configure for the selected ADC regular channel its corresponding rank in the sequencer and its sample time.
  */
  sConfig.Channel = ADC_CHANNEL_7;
  sConfig.Rank = 7;
  if (HAL_ADC_ConfigChannel(&hadc1, &sConfig) != HAL_OK)
  {
    Error_Handler();
  }

  /** Configure for the selected ADC regular channel its corresponding rank in the sequencer and its sample time.
  */
  sConfig.Channel = ADC_CHANNEL_8;
  sConfig.Rank = 8;
  if (HAL_ADC_ConfigChannel(&hadc1, &sConfig) != HAL_OK)
  {
    Error_Handler();
  }

  /** Configure for the selected ADC regular channel its corresponding rank in the sequencer and its sample time.
  */
  sConfig.Channel = ADC_CHANNEL_9;
  sConfig.Rank = 9;
  if (HAL_ADC_ConfigChannel(&hadc1, &sConfig) != HAL_OK)
  {
    Error_Handler();
  }

  /** Configure for the selected ADC regular channel its corresponding rank in the sequencer and its sample time.
  */
  sConfig.Channel = ADC_CHANNEL_10;
  sConfig.Rank = 10;
  if (HAL_ADC_ConfigChannel(&hadc1, &sConfig) != HAL_OK)
  {
    Error_Handler();
  }

  /** Configure for the selected ADC regular channel its corresponding rank in the sequencer and its sample time.
  */
  sConfig.Channel = ADC_CHANNEL_11;
  sConfig.Rank = 11;
  if (HAL_ADC_ConfigChannel(&hadc1, &sConfig) != HAL_OK)
  {
    Error_Handler();
  }

  /** Configure for the selected ADC regular channel its corresponding rank in the sequencer and its sample time.
  */
  sConfig.Channel = ADC_CHANNEL_12;
  sConfig.Rank = 12;
  if (HAL_ADC_ConfigChannel(&hadc1, &sConfig) != HAL_OK)
  {
    Error_Handler();
  }

  /** Configure for the selected ADC regular channel its corresponding rank in the sequencer and its sample time.
  */
  sConfig.Channel = ADC_CHANNEL_0;
  sConfig.Rank = 13;
  if (HAL_ADC_ConfigChannel(&hadc1, &sConfig) != HAL_OK)
  {
    Error_Handler();
  }

}

static void MX_TIM2_Init(void)
{

  TIM_Encoder_InitTypeDef sConfig = {0};
  TIM_MasterConfigTypeDef sMasterConfig = {0};

  htim2.Instance = TIM2;
  htim2.Init.Prescaler = 0;
  htim2.Init.CounterMode = TIM_COUNTERMODE_UP;
  htim2.Init.Period = 65535;
  htim2.Init.ClockDivision = TIM_CLOCKDIVISION_DIV1;
  htim2.Init.AutoReloadPreload = TIM_AUTORELOAD_PRELOAD_DISABLE;
  sConfig.EncoderMode = TIM_ENCODERMODE_TI12;
  sConfig.IC1Polarity = TIM_ICPOLARITY_FALLING;
  sConfig.IC1Selection = TIM_ICSELECTION_DIRECTTI;
  sConfig.IC1Prescaler = TIM_ICPSC_DIV1;
  sConfig.IC1Filter = 0;
  sConfig.IC2Polarity = TIM_ICPOLARITY_FALLING;
  sConfig.IC2Selection = TIM_ICSELECTION_DIRECTTI;
  sConfig.IC2Prescaler = TIM_ICPSC_DIV1;
  sConfig.IC2Filter = 0;
  if (HAL_TIM_Encoder_Init(&htim2, &sConfig) != HAL_OK)
  {
    Error_Handler();
  }
  sMasterConfig.MasterOutputTrigger = TIM_TRGO_RESET;
  sMasterConfig.MasterSlaveMode = TIM_MASTERSLAVEMODE_DISABLE;
  if (HAL_TIMEx_MasterConfigSynchronization(&htim2, &sMasterConfig) != HAL_OK)
  {
    Error_Handler();
  }

}

static void MX_TIM4_Init(void)
{

  TIM_MasterConfigTypeDef sMasterConfig = {0};
  TIM_OC_InitTypeDef sConfigOC = {0};

  htim4.Instance = TIM4;
  htim4.Init.Prescaler = 0;
  htim4.Init.CounterMode = TIM_COUNTERMODE_UP;
  htim4.Init.Period = 15599;
  htim4.Init.ClockDivision = TIM_CLOCKDIVISION_DIV1;
  htim4.Init.AutoReloadPreload = TIM_AUTORELOAD_PRELOAD_DISABLE;
  if (HAL_TIM_OC_Init(&htim4) != HAL_OK)
  {
    Error_Handler();
  }
  sMasterConfig.MasterOutputTrigger = TIM_TRGO_RESET;
  sMasterConfig.MasterSlaveMode = TIM_MASTERSLAVEMODE_DISABLE;
  if (HAL_TIMEx_MasterConfigSynchronization(&htim4, &sMasterConfig) != HAL_OK)
  {
    Error_Handler();
  }
  sConfigOC.OCMode = TIM_OCMODE_TIMING;
  sConfigOC.Pulse = 0;
  sConfigOC.OCPolarity = TIM_OCPOLARITY_HIGH;
  sConfigOC.OCFastMode = TIM_OCFAST_DISABLE;
  if (HAL_TIM_OC_ConfigChannel(&htim4, &sConfigOC, TIM_CHANNEL_1) != HAL_OK)
  {
    Error_Handler();
  }

}

static void MX_DMA_Init(void)
{

  /* DMA controller clock enable */
  __HAL_RCC_DMA2_CLK_ENABLE();

  /* DMA interrupt init */
  /* DMA2_Stream0_IRQn interrupt configuration */
  HAL_NVIC_SetPriority(DMA2_Stream0_IRQn, 0, 0);
  HAL_NVIC_EnableIRQ(DMA2_Stream0_IRQn);

}

static void MX_GPIO_Init(void)
{
  GPIO_InitTypeDef GPIO_InitStruct = {0};

  /* GPIO Ports Clock Enable */
  __HAL_RCC_GPIOE_CLK_ENABLE();
  __HAL_RCC_GPIOH_CLK_ENABLE();
  __HAL_RCC_GPIOC_CLK_ENABLE();
  __HAL_RCC_GPIOA_CLK_ENABLE();
  __HAL_RCC_GPIOB_CLK_ENABLE();
  __HAL_RCC_GPIOD_CLK_ENABLE();

  /*Configure GPIO pin Output Level */
  HAL_GPIO_WritePin(GPIOD, GPIO_PIN_12|GPIO_PIN_13|GPIO_PIN_14|GPIO_PIN_15, GPIO_PIN_RESET);

  /*Configure GPIO pins : PE2 PE3 PE4 PE5 */
  GPIO_InitStruct.Pin = GPIO_PIN_2|GPIO_PIN_3|GPIO_PIN_4|GPIO_PIN_5;
  GPIO_InitStruct.Mode = GPIO_MODE_IT_RISING;
  GPIO_InitStruct.Pull = GPIO_NOPULL;
  HAL_GPIO_Init(GPIOE, &GPIO_InitStruct);

  /*Configure GPIO pins : PE12 PE13 PE14 PE15
                           PE0 PE1 */
  GPIO_InitStruct.Pin = GPIO_PIN_12|GPIO_PIN_13|GPIO_PIN_14|GPIO_PIN_15
                          |GPIO_PIN_0|GPIO_PIN_1;
  GPIO_InitStruct.Mode = GPIO_MODE_INPUT;
  GPIO_InitStruct.Pull = GPIO_NOPULL;
  HAL_GPIO_Init(GPIOE, &GPIO_InitStruct);

  /*Configure GPIO pins : PB10 PB11 PB12 PB13
                           PB14 PB15 PB6 PB7
                           PB8 PB9 */
  GPIO_InitStruct.Pin = GPIO_PIN_10|GPIO_PIN_11|GPIO_PIN_12|GPIO_PIN_13
                          |GPIO_PIN_14|GPIO_PIN_15|GPIO_PIN_6|GPIO_PIN_7
                          |GPIO_PIN_8|GPIO_PIN_9;
  GPIO_InitStruct.Mode = GPIO_MODE_INPUT;
  GPIO_InitStruct.Pull = GPIO_NOPULL;
  HAL_GPIO_Init(GPIOB, &GPIO_InitStruct);

  /*Configure GPIO pins : PD12 PD13 PD14 PD15 */
  GPIO_InitStruct.Pin = GPIO_PIN_12|GPIO_PIN_13|GPIO_PIN_14|GPIO_PIN_15;
  GPIO_InitStruct.Mode = GPIO_MODE_OUTPUT_PP;
  GPIO_InitStruct.Pull = GPIO_NOPULL;
  GPIO_InitStruct.Speed = GPIO_SPEED_FREQ_LOW;
  HAL_GPIO_Init(GPIOD, &GPIO_InitStruct);

  /* EXTI interrupt init*/
  HAL_NVIC_SetPriority(EXTI2_IRQn, 0, 0);
  HAL_NVIC_EnableIRQ(EXTI2_IRQn);

  HAL_NVIC_SetPriority(EXTI3_IRQn, 0, 0);
  HAL_NVIC_EnableIRQ(EXTI3_IRQn);

  HAL_NVIC_SetPriority(EXTI4_IRQn, 0, 0);
  HAL_NVIC_EnableIRQ(EXTI4_IRQn);

  HAL_NVIC_SetPriority(EXTI9_5_IRQn, 0, 0);
  HAL_NVIC_EnableIRQ(EXTI9_5_IRQn);

}

void Error_Handler(void)
{
  __disable_irq();
  while (1)
  {
  }
}
